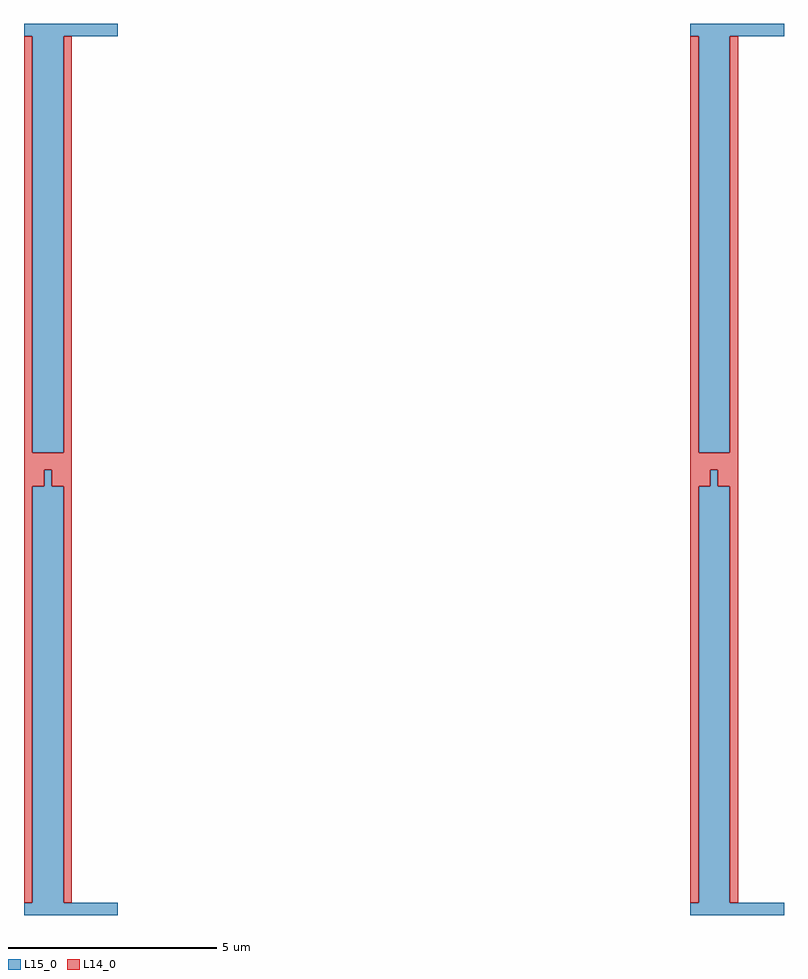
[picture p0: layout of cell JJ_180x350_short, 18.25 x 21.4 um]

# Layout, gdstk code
import gdstk
lib = gdstk.Library(unit=1e-6, precision=1e-09)
def R(c, l, rs):  # rectangles x0, y0, x1, y1
    for r in rs: c.add(gdstk.rectangle(r[:2], r[2:], *l))
def P(c, l, *ps):  # polygons
    for p in ps: c.add(gdstk.Polygon(p, *l))
L14_0 = (14, 0)
L15_0 = (15, 0)

jj_180x350_short = lib.new_cell('JJ_180x350_short')
R(jj_180x350_short, L14_0, [(-8.575,-10.4,-8.375,10.4), (-7.625,-10.4,-7.425,10.4), (7.425,-10.4,7.625,10.4), (8.375,-10.4,8.575,10.4)])
P(jj_180x350_short, L14_0, [(-8.375,-0.4),(-8.09,-0.4),(-8.09,0),(-7.91,0),(-7.91,-0.4),(-7.625,-0.4),(-7.625,0.4),(-8.375,0.4)],
  [(7.625,-0.4),(7.91,-0.4),(7.91,0),(8.09,0),(8.09,-0.4),(8.375,-0.4),(8.375,0.4),(7.625,0.4)])
R(jj_180x350_short, L15_0, [(-8.575,-10.7,-6.325,-10.4), (7.425,-10.7,9.675,-10.4), (-8.375,0.4,-7.625,10.4), (7.625,0.4,8.375,10.4), (-8.575,10.4,-6.325,10.7), (7.425,10.4,9.675,10.7)])
P(jj_180x350_short, L15_0, [(-8.375,-0.4),(-8.09,-0.4),(-8.09,0),(-7.91,0),(-7.91,-0.4),(-7.625,-0.4),(-7.625,-10.4),(-8.375,-10.4)],
  [(7.625,-0.4),(7.91,-0.4),(7.91,0),(8.09,0),(8.09,-0.4),(8.375,-0.4),(8.375,-10.4),(7.625,-10.4)])

lib.write_gds('JJ_180x350_short.gds')
